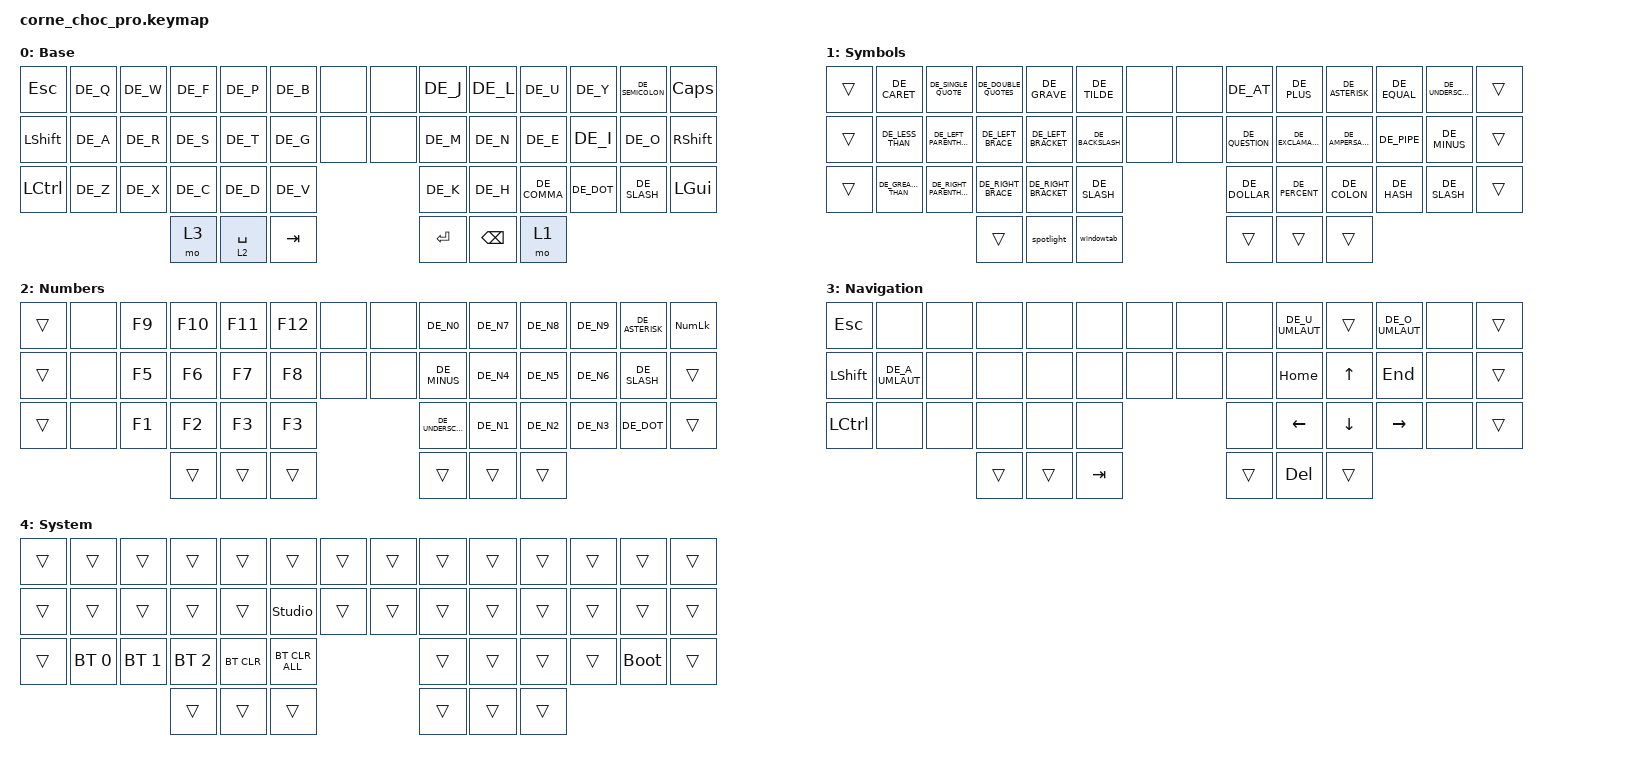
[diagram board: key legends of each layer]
/*
 * Copyright (c) 2020 The ZMK Contributors
 *
 * SPDX-License-Identifier: MIT
 */

#include "keys_de_swiss.h"
#include <behaviors.dtsi>
#include <dt-bindings/zmk/bt.h>
#include <dt-bindings/zmk/keys.h>

/ {
    chosen { zmk,physical-layout = &default_layout; };
};

/ {
    macros {
        windowtab: windowtab {
            compatible = "zmk,behavior-macro";
            #binding-cells = <0>;
            bindings =
                <&macro_press>,
                <&kp RALT>,
                <&macro_tap>,
                <&kp TAB>,
                <&macro_release>,
                <&kp RALT>;

            label = "WINDOWTAB";
        };

        spotlight: spotlight {
            compatible = "zmk,behavior-macro";
            #binding-cells = <0>;
            bindings =
                <&macro_press>,
                <&kp LEFT_ALT>,
                <&macro_tap>,
                <&kp SPACE>,
                <&macro_release>,
                <&kp LEFT_ALT>;

            label = "SPOTLIGHT";
        };
    };

    keymap {
        compatible = "zmk,keymap";

        BASE {
            display-name = "Base";

            // --------------------------------------------------------------------------------
            // |  TAB |  Q  |  W  |  E  |  R  |  T  |  MUTE |  PP   |  Y  |  U   |  I  |  O  |  P  | BSPC |
            // | CTRL |  A  |  S  |  D  |  F  |  G  |  LALT |  RALT |  H  |  J   |  K  |  L  |  ;  |  '   |
            // | SHFT |  Z  |  X  |  C  |  V  |  B  |               |  N  |  M   |  ,  |  .  |  /  | ESC  |
            //                    | GUI | LWR | SPC |               | ENT | RSE  | ALT |

            bindings = <
&kp ESCAPE        &kp DE_Q  &kp DE_W  &kp DE_F  &kp DE_P     &kp DE_B  &none  &none  &kp DE_J  &kp DE_L       &kp DE_U      &kp DE_Y    &kp DE_SEMICOLON  &kp CAPSLOCK
&kp LEFT_SHIFT    &kp DE_A  &kp DE_R  &kp DE_S  &kp DE_T     &kp DE_G  &none  &none  &kp DE_M  &kp DE_N       &kp DE_E      &kp DE_I    &kp DE_O          &kp RIGHT_SHIFT
&kp LEFT_CONTROL  &kp DE_Z  &kp DE_X  &kp DE_C  &kp DE_D     &kp DE_V                &kp DE_K  &kp DE_H       &kp DE_COMMA  &kp DE_DOT  &kp DE_SLASH      &kp LGUI
                                      &mo 3     &lt 2 SPACE  &kp TAB                 &kp RET   &kp BACKSPACE  &mo 1
            >;
        };

        SYM {
            display-name = "Symbols";

            // -----------------------------------------------------------------------------------------
            // |  TAB |  1  |  2  |  3  |  4  |  5    |  LCTRL | RCTRL |  6  |  7  |  8  |  9  |  0  | BSPC |
            // | CTRL | BT1 | BT2 | BT3 | BT4 | BT5   |  LALT  | RALT  | LFT | DWN |  UP | RGT |     |      |
            // | SHFT | BTCR| RGB | RST | BOOT| Unlock|        |       |     |     |     |     |     |      |
            //                    | GUI |     | SPC   |        | ENT   |     | ALT |

            bindings = <
&trans  &kp DE_CARET         &kp DE_SINGLE_QUOTE       &kp DE_DOUBLE_QUOTES  &kp DE_GRAVE          &kp DE_TILDE      &none  &none  &kp DE_AT        &kp DE_PLUS         &kp DE_ASTERISK   &kp DE_EQUAL  &kp DE_UNDERSCORE  &trans
&trans  &kp DE_LESS_THAN     &kp DE_LEFT_PARENTHESIS   &kp DE_LEFT_BRACE     &kp DE_LEFT_BRACKET   &kp DE_BACKSLASH  &none  &none  &kp DE_QUESTION  &kp DE_EXCLAMATION  &kp DE_AMPERSAND  &kp DE_PIPE   &kp DE_MINUS       &trans
&trans  &kp DE_GREATER_THAN  &kp DE_RIGHT_PARENTHESIS  &kp DE_RIGHT_BRACE    &kp DE_RIGHT_BRACKET  &kp DE_SLASH                    &kp DE_DOLLAR    &kp DE_PERCENT      &kp DE_COLON      &kp DE_HASH   &kp DE_SLASH       &trans
                                                       &trans                &spotlight            &windowtab                      &trans           &trans              &trans
            >;
        };

        NUM {
            display-name = "Numbers";

            // -----------------------------------------------------------------------------------------
            // |  TAB |  !  |  @  |  #  |  $  |  %  | LCTRL | RCTRL |  ^  |  &  |  *  |  (  |  )  | BSPC |
            // | CTRL |     |     |     |     |     |  LALT | RALT  |  -  |  =  |  [  |  ]  |  \  |  `   |
            // | SHFT |     |     |     |     |     |               |  _  |  +  |  {  |  }  | "|" |  ~   |
            //                    | GUI |     | SPC |               | ENT |     | ALT |

            bindings = <
&trans  &none  &kp F9  &kp F10  &kp F11  &kp F12  &none  &none  &kp DE_N0          &kp DE_N7  &kp DE_N8  &kp DE_N9  &kp DE_ASTERISK  &kp KP_NUMLOCK
&trans  &none  &kp F5  &kp F6   &kp F7   &kp F8   &none  &none  &kp DE_MINUS       &kp DE_N4  &kp DE_N5  &kp DE_N6  &kp DE_SLASH     &trans
&trans  &none  &kp F1  &kp F2   &kp F3   &kp F3                 &kp DE_UNDERSCORE  &kp DE_N1  &kp DE_N2  &kp DE_N3  &kp DE_DOT       &trans
                       &trans   &trans   &trans                 &trans             &trans     &trans
            >;
        };

        NAV {
            display-name = "Navigation";
            bindings = <
&kp ESC    &none            &none  &none   &none   &none    &none  &none  &none   &kp DE_U_UMLAUT  &trans          &kp DE_O_UMLAUT  &none  &trans
&kp LSHFT  &kp DE_A_UMLAUT  &none  &none   &none   &none    &none  &none  &none   &kp HOME         &kp UP_ARROW    &kp END          &none  &trans
&kp LCTRL  &none            &none  &none   &none   &none                  &none   &kp LEFT_ARROW   &kp DOWN_ARROW  &kp RIGHT_ARROW  &none  &trans
                                   &trans  &trans  &kp TAB                &trans  &kp DEL          &trans
            >;
        };

        SYS {
            display-name = "System";
            bindings = <
&trans  &trans        &trans        &trans        &trans      &trans          &trans  &trans  &trans  &trans  &trans  &trans  &trans       &trans
&trans  &trans        &trans        &trans        &trans      &studio_unlock  &trans  &trans  &trans  &trans  &trans  &trans  &trans       &trans
&trans  &bt BT_SEL 0  &bt BT_SEL 1  &bt BT_SEL 2  &bt BT_CLR  &bt BT_CLR_ALL                  &trans  &trans  &trans  &trans  &bootloader  &trans
                                    &trans        &trans      &trans                          &trans  &trans  &trans
            >;
        };
    };

    conditional_layers {
        compatible = "zmk,conditional-layers";

        System {
            if-layers = <1 3>;
            then-layer = <4>;
        };
    };
};
